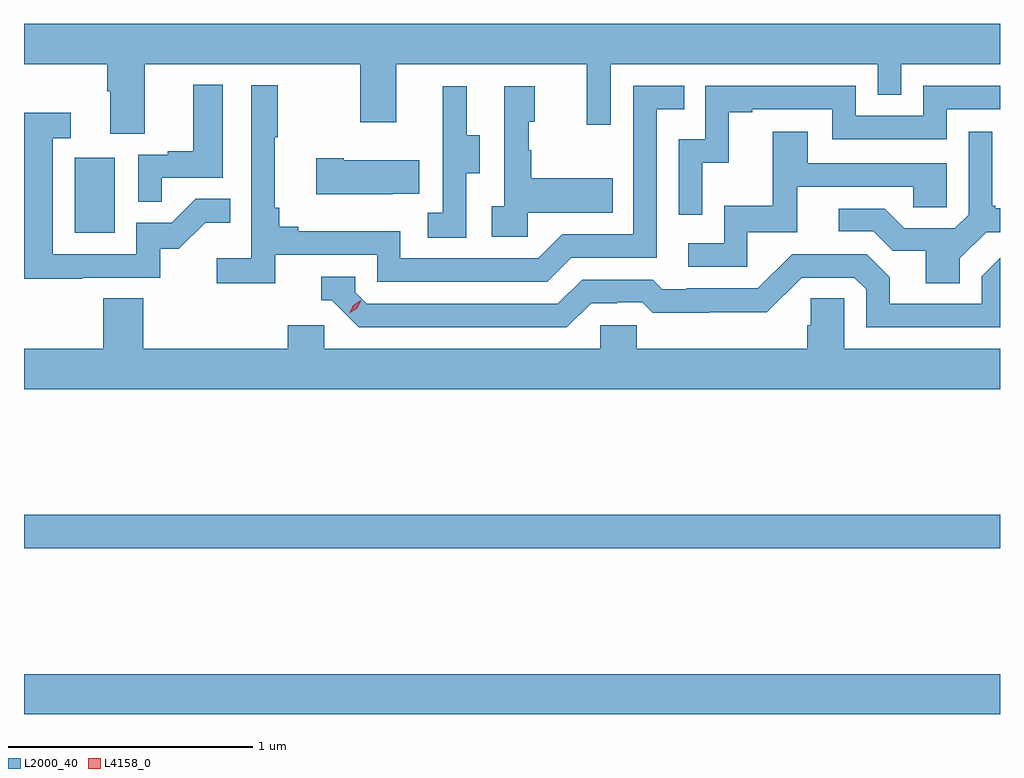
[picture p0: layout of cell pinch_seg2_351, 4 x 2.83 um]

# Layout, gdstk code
import gdstk
lib = gdstk.Library(unit=1e-6, precision=1e-09)
def R(c, l, rs):  # rectangles x0, y0, x1, y1
    for r in rs: c.add(gdstk.rectangle(r[:2], r[2:], *l))
def P(c, l, *ps):  # polygons
    for p in ps: c.add(gdstk.Polygon(p, *l))
L2000_40 = (2000, 40)
L4158_0 = (4158, 0)

pinch_seg2_351 = lib.new_cell('pinch_seg2_351')
R(pinch_seg2_351, L2000_40, [(963.425,624.992,967.425,625.156), (963.425,625.672,967.425,625.808), (963.632,626.964,963.796,627.271)])
P(pinch_seg2_351, L2000_40, [(963.919,627.656),(964.804,627.656),(964.804,627.417),(964.951,627.417),(964.951,627.656),(965.732,627.656),(965.732,627.408),(965.829,627.408),(965.829,627.656),(966.924,627.656),(966.924,627.529),(967.02,627.529),(967.02,627.656),(967.425,627.656),(967.425,627.82),(963.425,627.82),(963.425,627.656),(963.767,627.656),(963.767,627.544),(963.779,627.544),(963.779,627.37),(963.919,627.37)],
  [(963.989,627.189),(964.24,627.189),(964.24,627.571),(964.118,627.571),(964.118,627.298),(964.015,627.298),(964.015,627.285),(963.894,627.285),(963.894,627.091),(963.989,627.091)],
  [(964.454,626.874),(964.872,626.874),(964.872,626.763),(965.569,626.763),(965.668,626.862),(966.018,626.862),(966.018,627.471),(966.131,627.471),(966.131,627.567),(965.922,627.567),(965.922,626.958),(965.631,626.958),(965.532,626.859),(964.968,626.859),(964.968,626.971),(964.549,626.971),(964.549,626.99),(964.472,626.99),(964.472,627.067),(964.453,627.067),(964.453,627.355),(964.465,627.355),(964.465,627.568),(964.356,627.568),(964.356,626.86),(964.215,626.86),(964.215,626.758),(964.454,626.758)],
  [(966.204,627.251),(966.314,627.251),(966.314,627.459),(966.409,627.459),(966.409,627.471),(966.738,627.471),(966.738,627.348),(967.206,627.348),(967.206,627.471),(967.425,627.471),(967.425,627.567),(967.11,627.567),(967.11,627.444),(966.834,627.444),(966.834,627.567),(966.216,627.567),(966.216,627.348),(966.108,627.348),(966.108,627.039),(966.204,627.039)],
  [(965.238,627.208),(965.293,627.208),(965.293,627.363),(965.239,627.363),(965.239,627.565),(965.141,627.565),(965.141,627.351),(965.142,627.351),(965.142,627.047),(965.079,627.047),(965.079,626.944),(965.238,626.944)],
  [(965.49,627.047),(965.837,627.047),(965.837,627.187),(965.503,627.187),(965.503,627.302),(965.493,627.302),(965.493,627.42),(965.518,627.42),(965.518,627.565),(965.394,627.565),(965.394,627.074),(965.343,627.074),(965.343,626.949),(965.49,626.949)],
  [(963.665,626.781),(963.984,626.781),(963.984,626.898),(964.06,626.898),(964.167,627.005),(964.271,627.005),(964.271,627.104),(964.128,627.104),(964.03,627.006),(963.885,627.006),(963.885,626.877),(963.543,626.877),(963.543,627.351),(963.616,627.351),(963.616,627.457),(963.427,627.457),(963.427,626.776),(963.665,626.776)],
  [(966.39,626.967),(966.595,626.967),(966.595,627.153),(967.069,627.153),(967.069,627.069),(967.206,627.069),(967.206,627.249),(966.637,627.249),(966.637,627.379),(966.493,627.379),(966.493,627.076),(966.294,627.076),(966.294,626.922),(966.147,626.922),(966.147,626.826),(966.39,626.826)],
  [(967.261,626.86),(967.368,626.967),(967.425,626.967),(967.425,627.064),(967.405,627.064),(967.405,627.076),(967.393,627.076),(967.393,627.379),(967.296,627.379),(967.296,627.039),(967.239,626.982),(967.033,626.982),(966.952,627.063),(966.765,627.063),(966.765,626.97),(966.906,626.97),(966.986,626.89),(967.121,626.89),(967.121,626.758),(967.261,626.758)],
  [(964.937,627.125),(965.045,627.125),(965.045,627.262),(964.735,627.262),(964.735,627.27),(964.623,627.27),(964.623,627.122),(964.937,627.122)],
  [(965.749,626.676),(965.856,626.676),(965.856,626.679),(965.959,626.679),(966.001,626.637),(966.234,626.637),(966.234,626.639),(966.47,626.639),(966.612,626.781),(966.828,626.781),(966.876,626.733),(966.876,626.577),(967.425,626.577),(967.425,626.862),(967.35,626.787),(967.35,626.673),(966.973,626.673),(966.973,626.783),(966.879,626.877),(966.573,626.877),(966.432,626.736),(966.139,626.736),(966.139,626.733),(966.04,626.733),(966.001,626.772),(965.712,626.772),(965.613,626.673),(964.83,626.673),(964.782,626.721),(964.782,626.784),(964.643,626.784),(964.643,626.688),(964.686,626.688),(964.797,626.577),(965.65,626.577)],
  [(967.425,626.488),(966.786,626.488),(966.786,626.696),(966.649,626.696),(966.649,626.586),(966.635,626.586),(966.635,626.488),(965.937,626.488),(965.937,626.586),(965.787,626.586),(965.787,626.488),(964.656,626.488),(964.656,626.586),(964.505,626.586),(964.505,626.488),(963.914,626.488),(963.914,626.696),(963.749,626.696),(963.749,626.488),(963.425,626.488),(963.425,626.324),(967.425,626.324)])
P(pinch_seg2_351, L4158_0, [(964.759,626.635),(964.759,626.635),(964.775,626.667),(964.806,626.687),(964.806,626.687),(964.806,626.686),(964.79,626.654),(964.759,626.635)])

lib.write_gds('pinch_seg2_351.gds')
